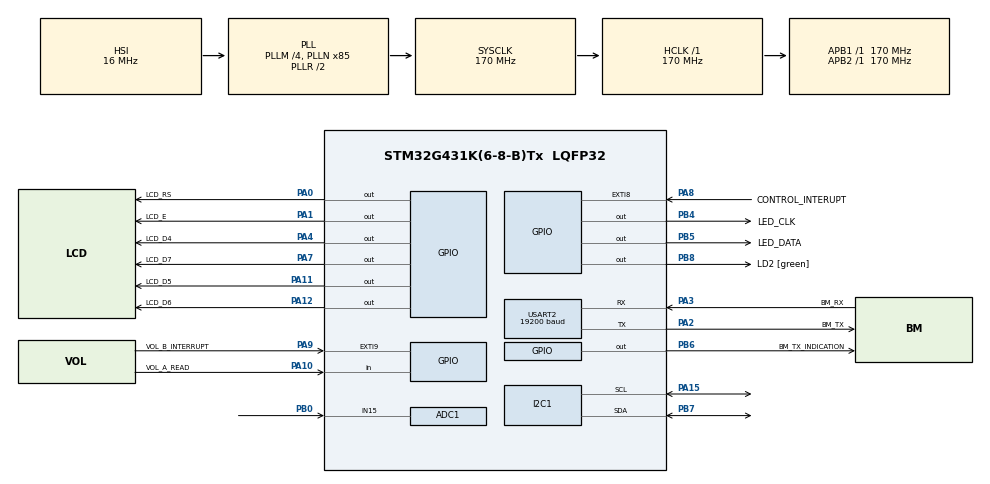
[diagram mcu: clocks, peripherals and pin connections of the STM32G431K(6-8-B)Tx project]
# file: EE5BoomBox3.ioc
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ADC1.Channel-0\#ChannelRegularConversion=ADC_CHANNEL_15
ADC1.NbrOfConversionFlag=1
ADC1.OffsetNumber-0\#ChannelRegularConversion=ADC_OFFSET_NONE
ADC1.Rank-0\#ChannelRegularConversion=1
ADC1.SamplingTime-0\#ChannelRegularConversion=ADC_SAMPLETIME_2CYCLES_5
ADC1.master=1
FREERTOS.Tasks01=mainTask,24,128,StartMainTask,Default,NULL,Dynamic,NULL,NULL;InterfaceTask,8,256,StartInterfaceTask,Default,NULL,Dynamic,NULL,NULL;LEDscreenDriver,8,128,StartLEDscreenDriver,Default,NULL,Dynamic,NULL,NULL
I2C1.Timing=0x30A0A7FB
Mcu.Family=STM32G4
Mcu.Name=STM32G431K(6-8-B)Tx
Mcu.Package=LQFP32
NVIC.ADC1_2_IRQn=true\:5\:0\:false\:false\:true\:true\:true\:true
NVIC.EXTI9_5_IRQn=true\:5\:0\:false\:false\:true\:true\:true\:true
NVIC.PriorityGroup=NVIC_PRIORITYGROUP_4
NVIC.TIM1_UP_TIM16_IRQn=true\:5\:0\:false\:false\:true\:true\:true\:true
PA0.GPIO_Label=LCD_RS
PA0.Signal=GPIO_Output
PA1.GPIO_Label=LCD_E
PA1.Signal=GPIO_Output
PA10.GPIO_Label=VOL_A_READ
PA10.Signal=GPIO_Input
PA11.GPIO_Label=LCD_D5
PA11.Signal=GPIO_Output
PA12.GPIO_Label=LCD_D6
PA12.Signal=GPIO_Output
PA13.GPIO_Label=T_SWDIO
PA13.Mode=Serial_Wire
PA13.Signal=SYS_JTMS-SWDIO
PA14.GPIO_Label=T_SWCLK
PA14.Mode=Serial_Wire
PA14.Signal=SYS_JTCK-SWCLK
PA15.Mode=I2C
PA15.Signal=I2C1_SCL
PA2.GPIO_Label=BM_TX
PA2.Mode=Asynchronous
PA2.Signal=USART2_TX
PA3.GPIO_Label=BM_RX
PA3.Mode=Asynchronous
PA3.Signal=USART2_RX
PA4.GPIO_Label=LCD_D4
PA4.Signal=GPIO_Output
PA7.GPIO_Label=LCD_D7
PA7.Signal=GPIO_Output
PA8.GPIO_Label=CONTROL_INTERUPT
PA8.GPIO_ModeDefaultEXTI=GPIO_MODE_IT_RISING_FALLING
PA8.Signal=GPXTI8
PA9.GPIO_Label=VOL_B_INTERRUPT
PA9.GPIO_ModeDefaultEXTI=GPIO_MODE_IT_FALLING
PA9.Signal=GPXTI9
PB0.Mode=IN15-Single-Ended
PB0.Signal=ADC1_IN15
PB3.GPIO_Label=T_SWO
PB3.Signal=SYS_JTDO-SWO
PB4.GPIO_Label=LED_CLK
PB4.Signal=GPIO_Output
PB5.GPIO_Label=LED_DATA
PB5.Signal=GPIO_Output
PB6.GPIO_Label=BM_TX_INDICATION
PB6.Signal=GPIO_Output
PB7.Mode=I2C
PB7.Signal=I2C1_SDA
PB8-BOOT0.GPIO_Label=LD2 [green]
PB8-BOOT0.Signal=GPIO_Output
ProjectManager.HeapSize=0x200
ProjectManager.StackSize=0x400
ProjectManager.TargetToolchain=STM32CubeIDE
RCC.ADC12Freq_Value=170000000
RCC.AHBFreq_Value=170000000
RCC.APB1Freq_Value=170000000
RCC.APB1TimFreq_Value=170000000
RCC.APB2Freq_Value=170000000
RCC.APB2TimFreq_Value=170000000
RCC.CortexFreq_Value=170000000
RCC.EXTERNAL_CLOCK_VALUE=12288000
RCC.HCLKFreq_Value=170000000
RCC.HSE_VALUE=8000000
RCC.HSI48_VALUE=48000000
RCC.HSI_VALUE=16000000
RCC.LSE_VALUE=32768
RCC.PLLM=RCC_PLLM_DIV4
RCC.PLLN=85
RCC.SYSCLKFreq_VALUE=170000000
RCC.SYSCLKSource=RCC_SYSCLKSOURCE_PLLCLK
RCC.USBFreq_Value=170000000
RCC.VCOOutputFreq_Value=340000000
TIM7.Prescaler=169
USART2.BaudRate=19200
USART2.Mode=MODE_TX
USART2.VirtualMode-Asynchronous=VM_ASYNC
USART2.WordLength=WORDLENGTH_8B
VP_FREERTOS_VS_CMSIS_V2.Mode=CMSIS_V2
VP_SYS_VS_DBSignals.Mode=DisableDeadBatterySignals
VP_TIM16_VS_ClockSourceINT.Mode=Enable_Timer
VP_TIM7_VS_ClockSourceINT.Mode=Enable_Timer
board=NUCLEO-G431KB

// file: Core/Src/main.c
/* USER CODE BEGIN Header */
/**
  ******************************************************************************
  * @file           : main.c
  * @brief          : Main program body
  ******************************************************************************
  * @attention
  *
  * <h2><center>&copy; Copyright (c) 2021 STMicroelectronics.
  * All rights reserved.</center></h2>
  *
  * This software component is licensed by ST under BSD 3-Clause license,
  * the "License"; You may not use this file except in compliance with the
  * License. You may obtain a copy of the License at:
  *                        opensource.org/licenses/BSD-3-Clause
  *
  ******************************************************************************
  */
/* USER CODE END Header */
#include "main.h"
#include "cmsis_os.h"

/* USER CODE BEGIN Includes */
#include "appmain.h"
#include "interface.h"
#include "ledeffects.h"
/* USER CODE END Includes */

ADC_HandleTypeDef hadc1;

I2C_HandleTypeDef hi2c1;

TIM_HandleTypeDef htim7;
TIM_HandleTypeDef htim16;

UART_HandleTypeDef huart2;

/* Definitions for mainTask */
osThreadId_t mainTaskHandle;
const osThreadAttr_t mainTask_attributes = {
  .name = "mainTask",
  .priority = (osPriority_t) osPriorityNormal,
  .stack_size = 128 * 4
};
/* Definitions for InterfaceTask */
osThreadId_t InterfaceTaskHandle;
const osThreadAttr_t InterfaceTask_attributes = {
  .name = "InterfaceTask",
  .priority = (osPriority_t) osPriorityLow,
  .stack_size = 256 * 4
};
/* Definitions for LEDscreenDriver */
osThreadId_t LEDscreenDriverHandle;
const osThreadAttr_t LEDscreenDriver_attributes = {
  .name = "LEDscreenDriver",
  .priority = (osPriority_t) osPriorityLow,
  .stack_size = 128 * 4
};

void SystemClock_Config(void);
static void MX_GPIO_Init(void);
static void MX_USART2_UART_Init(void);
static void MX_ADC1_Init(void);
static void MX_I2C1_Init(void);
static void MX_TIM7_Init(void);
static void MX_TIM16_Init(void);
void StartMainTask(void *argument);
void StartInterfaceTask(void *argument);
void StartLEDscreenDriver(void *argument);

int main(void)
{

  /* MCU Configuration--------------------------------------------------------*/

  /* Reset of all peripherals, Initializes the Flash interface and the Systick. */
  HAL_Init();

  /* Configure the system clock */
  SystemClock_Config();

  /* Initialize all configured peripherals */
  MX_GPIO_Init();
  MX_USART2_UART_Init();
  MX_ADC1_Init();
  MX_I2C1_Init();
  MX_TIM7_Init();
  MX_TIM16_Init();

  /* Init scheduler */
  osKernelInitialize();

  /* Create the thread(s) */
  /* creation of mainTask */
  mainTaskHandle = osThreadNew(StartMainTask, NULL, &mainTask_attributes);

  /* creation of InterfaceTask */
  InterfaceTaskHandle = osThreadNew(StartInterfaceTask, NULL, &InterfaceTask_attributes);

  /* creation of LEDscreenDriver */
  LEDscreenDriverHandle = osThreadNew(StartLEDscreenDriver, NULL, &LEDscreenDriver_attributes);

  /* Start scheduler */
  osKernelStart();

  /* We should never get here as control is now taken by the scheduler */
  /* Infinite loop */
  while (1)
  {

  }
}

void SystemClock_Config(void)
{
  RCC_OscInitTypeDef RCC_OscInitStruct = {0};
  RCC_ClkInitTypeDef RCC_ClkInitStruct = {0};
  RCC_PeriphCLKInitTypeDef PeriphClkInit = {0};

  /** Configure the main internal regulator output voltage
  */
  HAL_PWREx_ControlVoltageScaling(PWR_REGULATOR_VOLTAGE_SCALE1_BOOST);
  /** Initializes the RCC Oscillators according to the specified parameters
  * in the RCC_OscInitTypeDef structure.
  */
  RCC_OscInitStruct.OscillatorType = RCC_OSCILLATORTYPE_HSI;
  RCC_OscInitStruct.HSIState = RCC_HSI_ON;
  RCC_OscInitStruct.HSICalibrationValue = RCC_HSICALIBRATION_DEFAULT;
  RCC_OscInitStruct.PLL.PLLState = RCC_PLL_ON;
  RCC_OscInitStruct.PLL.PLLSource = RCC_PLLSOURCE_HSI;
  RCC_OscInitStruct.PLL.PLLM = RCC_PLLM_DIV4;
  RCC_OscInitStruct.PLL.PLLN = 85;
  RCC_OscInitStruct.PLL.PLLP = RCC_PLLP_DIV2;
  RCC_OscInitStruct.PLL.PLLQ = RCC_PLLQ_DIV2;
  RCC_OscInitStruct.PLL.PLLR = RCC_PLLR_DIV2;
  if (HAL_RCC_OscConfig(&RCC_OscInitStruct) != HAL_OK)
  {
    Error_Handler();
  }
  /** Initializes the CPU, AHB and APB buses clocks
  */
  RCC_ClkInitStruct.ClockType = RCC_CLOCKTYPE_HCLK|RCC_CLOCKTYPE_SYSCLK
                              |RCC_CLOCKTYPE_PCLK1|RCC_CLOCKTYPE_PCLK2;
  RCC_ClkInitStruct.SYSCLKSource = RCC_SYSCLKSOURCE_PLLCLK;
  RCC_ClkInitStruct.AHBCLKDivider = RCC_SYSCLK_DIV1;
  RCC_ClkInitStruct.APB1CLKDivider = RCC_HCLK_DIV1;
  RCC_ClkInitStruct.APB2CLKDivider = RCC_HCLK_DIV1;

  if (HAL_RCC_ClockConfig(&RCC_ClkInitStruct, FLASH_LATENCY_4) != HAL_OK)
  {
    Error_Handler();
  }
  /** Initializes the peripherals clocks
  */
  PeriphClkInit.PeriphClockSelection = RCC_PERIPHCLK_USART2|RCC_PERIPHCLK_I2C1
                              |RCC_PERIPHCLK_ADC12;
  PeriphClkInit.Usart2ClockSelection = RCC_USART2CLKSOURCE_PCLK1;
  PeriphClkInit.I2c1ClockSelection = RCC_I2C1CLKSOURCE_PCLK1;
  PeriphClkInit.Adc12ClockSelection = RCC_ADC12CLKSOURCE_SYSCLK;
  if (HAL_RCCEx_PeriphCLKConfig(&PeriphClkInit) != HAL_OK)
  {
    Error_Handler();
  }
}

static void MX_ADC1_Init(void)
{

  ADC_MultiModeTypeDef multimode = {0};
  ADC_ChannelConfTypeDef sConfig = {0};

  /** Common config
  */
  hadc1.Instance = ADC1;
  hadc1.Init.ClockPrescaler = ADC_CLOCK_SYNC_PCLK_DIV4;
  hadc1.Init.Resolution = ADC_RESOLUTION_12B;
  hadc1.Init.DataAlign = ADC_DATAALIGN_RIGHT;
  hadc1.Init.GainCompensation = 0;
  hadc1.Init.ScanConvMode = ADC_SCAN_DISABLE;
  hadc1.Init.EOCSelection = ADC_EOC_SINGLE_CONV;
  hadc1.Init.LowPowerAutoWait = DISABLE;
  hadc1.Init.ContinuousConvMode = DISABLE;
  hadc1.Init.NbrOfConversion = 1;
  hadc1.Init.DiscontinuousConvMode = DISABLE;
  hadc1.Init.ExternalTrigConv = ADC_SOFTWARE_START;
  hadc1.Init.ExternalTrigConvEdge = ADC_EXTERNALTRIGCONVEDGE_NONE;
  hadc1.Init.DMAContinuousRequests = DISABLE;
  hadc1.Init.Overrun = ADC_OVR_DATA_PRESERVED;
  hadc1.Init.OversamplingMode = DISABLE;
  if (HAL_ADC_Init(&hadc1) != HAL_OK)
  {
    Error_Handler();
  }
  /** Configure the ADC multi-mode
  */
  multimode.Mode = ADC_MODE_INDEPENDENT;
  if (HAL_ADCEx_MultiModeConfigChannel(&hadc1, &multimode) != HAL_OK)
  {
    Error_Handler();
  }
  /** Configure Regular Channel
  */
  sConfig.Channel = ADC_CHANNEL_15;
  sConfig.Rank = ADC_REGULAR_RANK_1;
  sConfig.SamplingTime = ADC_SAMPLETIME_2CYCLES_5;
  sConfig.SingleDiff = ADC_SINGLE_ENDED;
  sConfig.OffsetNumber = ADC_OFFSET_NONE;
  sConfig.Offset = 0;
  if (HAL_ADC_ConfigChannel(&hadc1, &sConfig) != HAL_OK)
  {
    Error_Handler();
  }

}

static void MX_I2C1_Init(void)
{

  hi2c1.Instance = I2C1;
  hi2c1.Init.Timing = 0x30A0A7FB;
  hi2c1.Init.OwnAddress1 = 0;
  hi2c1.Init.AddressingMode = I2C_ADDRESSINGMODE_7BIT;
  hi2c1.Init.DualAddressMode = I2C_DUALADDRESS_DISABLE;
  hi2c1.Init.OwnAddress2 = 0;
  hi2c1.Init.OwnAddress2Masks = I2C_OA2_NOMASK;
  hi2c1.Init.GeneralCallMode = I2C_GENERALCALL_DISABLE;
  hi2c1.Init.NoStretchMode = I2C_NOSTRETCH_DISABLE;
  if (HAL_I2C_Init(&hi2c1) != HAL_OK)
  {
    Error_Handler();
  }
  /** Configure Analogue filter
  */
  if (HAL_I2CEx_ConfigAnalogFilter(&hi2c1, I2C_ANALOGFILTER_ENABLE) != HAL_OK)
  {
    Error_Handler();
  }
  /** Configure Digital filter
  */
  if (HAL_I2CEx_ConfigDigitalFilter(&hi2c1, 0) != HAL_OK)
  {
    Error_Handler();
  }

}

static void MX_TIM7_Init(void)
{

  TIM_MasterConfigTypeDef sMasterConfig = {0};

  htim7.Instance = TIM7;
  htim7.Init.Prescaler = 169;
  htim7.Init.CounterMode = TIM_COUNTERMODE_UP;
  htim7.Init.Period = 65535;
  htim7.Init.AutoReloadPreload = TIM_AUTORELOAD_PRELOAD_DISABLE;
  if (HAL_TIM_Base_Init(&htim7) != HAL_OK)
  {
    Error_Handler();
  }
  sMasterConfig.MasterOutputTrigger = TIM_TRGO_RESET;
  sMasterConfig.MasterSlaveMode = TIM_MASTERSLAVEMODE_DISABLE;
  if (HAL_TIMEx_MasterConfigSynchronization(&htim7, &sMasterConfig) != HAL_OK)
  {
    Error_Handler();
  }

}

static void MX_TIM16_Init(void)
{

  htim16.Instance = TIM16;
  htim16.Init.Prescaler = 0;
  htim16.Init.CounterMode = TIM_COUNTERMODE_UP;
  htim16.Init.Period = 65535;
  htim16.Init.ClockDivision = TIM_CLOCKDIVISION_DIV1;
  htim16.Init.RepetitionCounter = 0;
  htim16.Init.AutoReloadPreload = TIM_AUTORELOAD_PRELOAD_DISABLE;
  if (HAL_TIM_Base_Init(&htim16) != HAL_OK)
  {
    Error_Handler();
  }

}

static void MX_USART2_UART_Init(void)
{

  huart2.Instance = USART2;
  huart2.Init.BaudRate = 19200;
  huart2.Init.WordLength = UART_WORDLENGTH_8B;
  huart2.Init.StopBits = UART_STOPBITS_1;
  huart2.Init.Parity = UART_PARITY_NONE;
  huart2.Init.Mode = UART_MODE_TX;
  huart2.Init.HwFlowCtl = UART_HWCONTROL_NONE;
  huart2.Init.OverSampling = UART_OVERSAMPLING_16;
  huart2.Init.OneBitSampling = UART_ONE_BIT_SAMPLE_DISABLE;
  huart2.Init.ClockPrescaler = UART_PRESCALER_DIV1;
  huart2.AdvancedInit.AdvFeatureInit = UART_ADVFEATURE_NO_INIT;
  if (HAL_UART_Init(&huart2) != HAL_OK)
  {
    Error_Handler();
  }
  if (HAL_UARTEx_SetTxFifoThreshold(&huart2, UART_TXFIFO_THRESHOLD_1_8) != HAL_OK)
  {
    Error_Handler();
  }
  if (HAL_UARTEx_SetRxFifoThreshold(&huart2, UART_RXFIFO_THRESHOLD_1_8) != HAL_OK)
  {
    Error_Handler();
  }
  if (HAL_UARTEx_DisableFifoMode(&huart2) != HAL_OK)
  {
    Error_Handler();
  }

}

static void MX_GPIO_Init(void)
{
  GPIO_InitTypeDef GPIO_InitStruct = {0};

  /* GPIO Ports Clock Enable */
  __HAL_RCC_GPIOA_CLK_ENABLE();
  __HAL_RCC_GPIOB_CLK_ENABLE();

  /*Configure GPIO pin Output Level */
  HAL_GPIO_WritePin(GPIOA, LCD_RS_Pin|LCD_E_Pin|LCD_D4_Pin|LCD_D7_Pin
                          |LCD_D5_Pin|LCD_D6_Pin, GPIO_PIN_RESET);

  /*Configure GPIO pin Output Level */
  HAL_GPIO_WritePin(GPIOB, LED_CLK_Pin|LED_DATA_Pin|BM_TX_INDICATION_Pin|LD2_Pin, GPIO_PIN_RESET);

  /*Configure GPIO pins : LCD_RS_Pin LCD_E_Pin LCD_D4_Pin LCD_D7_Pin
                           LCD_D5_Pin LCD_D6_Pin */
  GPIO_InitStruct.Pin = LCD_RS_Pin|LCD_E_Pin|LCD_D4_Pin|LCD_D7_Pin
                          |LCD_D5_Pin|LCD_D6_Pin;
  GPIO_InitStruct.Mode = GPIO_MODE_OUTPUT_PP;
  GPIO_InitStruct.Pull = GPIO_NOPULL;
  GPIO_InitStruct.Speed = GPIO_SPEED_FREQ_LOW;
  HAL_GPIO_Init(GPIOA, &GPIO_InitStruct);

  /*Configure GPIO pin : CONTROL_INTERUPT_Pin */
  GPIO_InitStruct.Pin = CONTROL_INTERUPT_Pin;
  GPIO_InitStruct.Mode = GPIO_MODE_IT_RISING_FALLING;
  GPIO_InitStruct.Pull = GPIO_NOPULL;
  HAL_GPIO_Init(CONTROL_INTERUPT_GPIO_Port, &GPIO_InitStruct);

  /*Configure GPIO pin : VOL_B_INTERRUPT_Pin */
  GPIO_InitStruct.Pin = VOL_B_INTERRUPT_Pin;
  GPIO_InitStruct.Mode = GPIO_MODE_IT_FALLING;
  GPIO_InitStruct.Pull = GPIO_NOPULL;
  HAL_GPIO_Init(VOL_B_INTERRUPT_GPIO_Port, &GPIO_InitStruct);

  /*Configure GPIO pin : VOL_A_READ_Pin */
  GPIO_InitStruct.Pin = VOL_A_READ_Pin;
  GPIO_InitStruct.Mode = GPIO_MODE_INPUT;
  GPIO_InitStruct.Pull = GPIO_NOPULL;
  HAL_GPIO_Init(VOL_A_READ_GPIO_Port, &GPIO_InitStruct);

  /*Configure GPIO pins : LED_CLK_Pin LED_DATA_Pin BM_TX_INDICATION_Pin LD2_Pin */
  GPIO_InitStruct.Pin = LED_CLK_Pin|LED_DATA_Pin|BM_TX_INDICATION_Pin|LD2_Pin;
  GPIO_InitStruct.Mode = GPIO_MODE_OUTPUT_PP;
  GPIO_InitStruct.Pull = GPIO_NOPULL;
  GPIO_InitStruct.Speed = GPIO_SPEED_FREQ_LOW;
  HAL_GPIO_Init(GPIOB, &GPIO_InitStruct);

  /* EXTI interrupt init*/
  HAL_NVIC_SetPriority(EXTI9_5_IRQn, 5, 0);
  HAL_NVIC_EnableIRQ(EXTI9_5_IRQn);

}

/* USER CODE BEGIN 4 */
UART_HandleTypeDef* getUartPointerBluetooth(){
	return &huart2;
}

void HAL_GPIO_EXTI_Callback(uint16_t GPIO_Pin)
{
	interrupt_interface( GPIO_Pin , &hadc1);
}

void HAL_ADC_ConvCpltCallback(ADC_HandleTypeDef* hadc)
{
	interrupt_adc_interface(hadc);
}

void HAL_TIM_PeriodElapsedCallback(TIM_HandleTypeDef *htim)
{
	interrupt_timer_led(htim);
}

/* USER CODE END 4 */

void StartMainTask(void *argument)
{
  /* USER CODE BEGIN 5 */
	init_app(&hi2c1);
  /* USER CODE END 5 */
}

void StartInterfaceTask(void *argument)
{
  /* USER CODE BEGIN StartInterfaceTask */
	init_interface(&hi2c1, &htim7);
	for(uint32_t frame = 0;1;frame++)
	{
		osDelay(33); // Interface will update at 30FPS
		tick_interface(frame);
	}
  /* USER CODE END StartInterfaceTask */
}

void StartLEDscreenDriver(void *argument)
{
  /* USER CODE BEGIN StartLEDscreenDriver */
  /* Infinite loop */
	init_led(&htim16);
	for(uint32_t frame = 0;1;frame++)
	{
		osDelay(33); // Interface will update at 30FPS
		tick_led(frame);
	}
  /* USER CODE END StartLEDscreenDriver */
}

void Error_Handler(void)
{
  __disable_irq();
  while (1)
  {
  }
}

/************************ (C) COPYRIGHT STMicroelectronics *****END OF FILE****/
